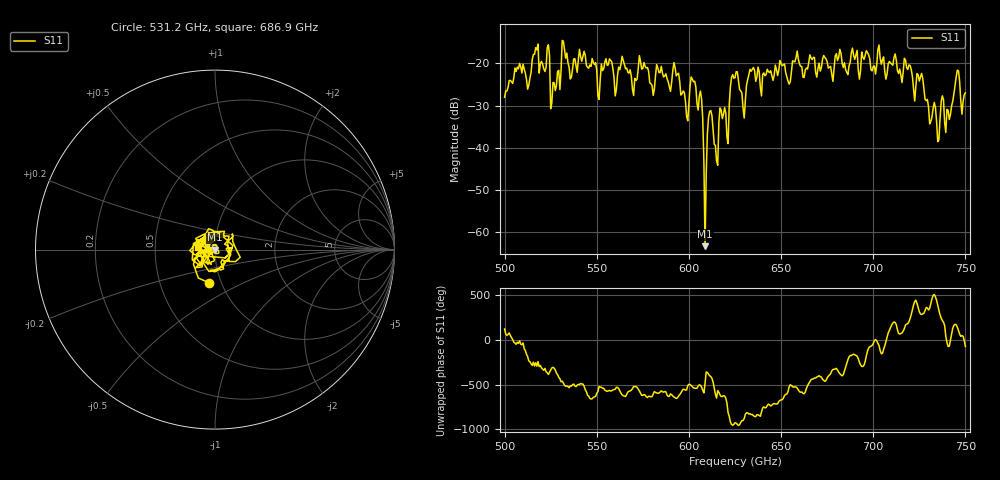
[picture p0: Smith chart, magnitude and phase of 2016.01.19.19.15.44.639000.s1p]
!Created with skrf (http://scikit-rf.org).
# GHz S RI R 50.0
!freq ReS11 ImS11
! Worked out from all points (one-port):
!   401 points, 500 GHz to 750 GHz, reference 50 ohm
!   lowest |S11| = -63.4 dB at 608.8 GHz (marker M1), VSWR 1.00, Z = 50 - j0.0554 ohm
!   |S11| at or under -10 dB: start of sweep to end of sweep
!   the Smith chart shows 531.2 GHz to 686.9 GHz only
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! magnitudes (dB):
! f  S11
! 500 GHz  -28.0
! 506.9 GHz  -20.9
! 513.1 GHz  -25.1
! 516.9 GHz  -16.3
! 523.1 GHz  -16.3
! 526.2 GHz  -24.5
! 531.2 GHz  -14.6
! 551.2 GHz  -28.5
! 562.5 GHz  -21.5
! 574.4 GHz  -21.3
! 580 GHz  -25.2
! 593.8 GHz  -22.6
! 598.8 GHz  -32.6
! 601.9 GHz  -23.8
! 606.2 GHz  -26.6
! 608.8 GHz  -63.4
! 611.2 GHz  -31.4
! 615 GHz  -43.1
! 625 GHz  -23.4
! 629.4 GHz  -30.6
! 634.4 GHz  -21.4
! 656.2 GHz  -19.4
! 687.5 GHz  -19.8
! 718.8 GHz  -21.4
! 735 GHz  -38.5
! 740.6 GHz  -31.1
! 745.6 GHz  -21.6
! 750 GHz  -27.0
